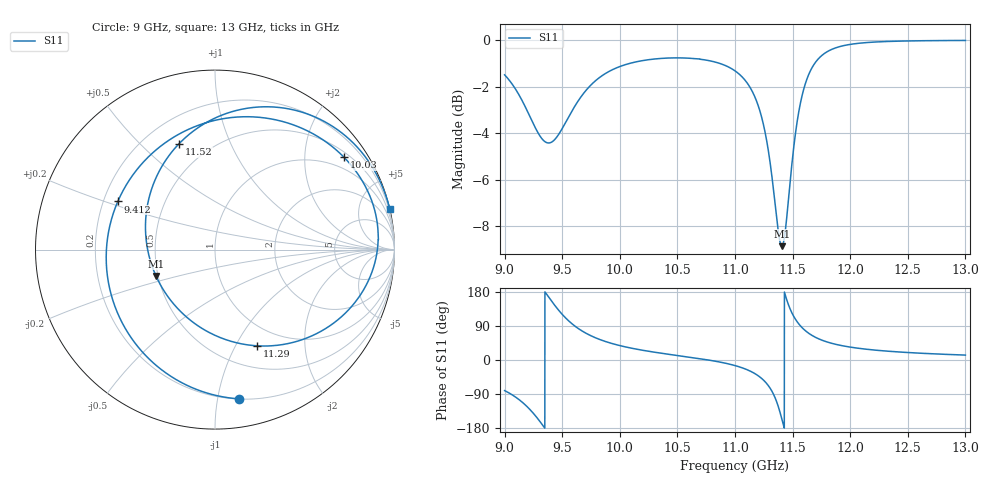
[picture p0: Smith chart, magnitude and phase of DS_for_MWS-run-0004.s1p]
! TOUCHSTONE file generated by CST DESIGN STUDIO
! Date and time: Tue Feb  4 17:48:13 2025
! Project name: C:\Work\MatlabApps\UnitCellOptimizationMatlab\CST\unitcell.cst
! Tree item: Tasks\Sweep1\SPara1\S-Parameters
! Header version: 2024
! Port assignment regex: !\s*Touchstone port\s*([0-9]+)\s*=\s*(CST MWS port|CST DES external port|CST DES block port)\s*(.+)\s* \(\"(.*)\"\)(\s*mode\s*([0-9]+))?.*
! Touchstone port assignment:
! Touchstone port 1 = CST DES external port 1 ("")
# GHz S MA R 50
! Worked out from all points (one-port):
!   4001 points, 9 GHz to 13 GHz, reference 50 ohm
!   lowest |S11| = -8.9 dB at 11.41 GHz (marker M1), VSWR 2.13, Z = 24.3 - j8.2 ohm
!   |S11| at or under -10 dB: nowhere
!   S11 on the Smith chart (normalised r, x): 9 GHz: 0.20, -1.16; 9.412 GHz: 0.26, +0.22; 10.03 GHz: 0.63, +2.99; 11.29 GHz: 0.75, -1.23; 11.52 GHz: 0.34, +0.66; 13 GHz: 0.03, +8.81
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9  0.8426 -80.7
9.104  0.7784 -99.8
9.193  0.7076 -122.4
9.31  0.6204 -163.6
9.412  0.6043 153.7
9.5  0.6455 120.5
9.582  0.7023 96.3
9.676  0.7631 75.9
9.826  0.8323 54.1
10  0.8779 38.0
10.033  0.8838 35.7
10.5  0.9166 11.9
10.793  0.9021 -1.3
11  0.8595 -14.7
11.164  0.7634 -34.4
11.227  0.6891 -47.6
11.286  0.5857 -66.3
11.348  0.4442 -99.6
11.407  0.3601 -156.0
11.452  0.4219 156.2
11.5  0.5594 120.7
11.522  0.6223 108.9
11.603  0.7949 79.4
11.724  0.9126 56.2
11.842  0.9566 43.8
12  0.98 34.0
12.5  0.9969 19.7
13  0.9993 13.0
